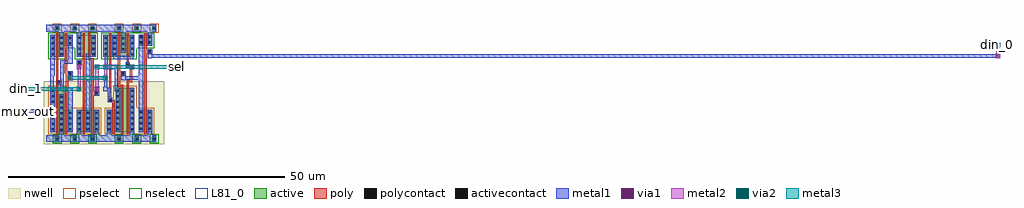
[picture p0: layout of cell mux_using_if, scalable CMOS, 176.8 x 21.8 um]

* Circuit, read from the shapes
.subckt mux_using_if din_0 din_1 gnd mux_out sel vdd
M1 gnd n1 mux_out gnd nfet w=4u l=0.4u
M2 n1 BUFX2_0/A gnd gnd nfet w=2u l=0.4u
M3 n2 din_1 gnd gnd nfet w=4u l=0.4u
M4 OAI21X1_2/C sel n2 gnd nfet w=4u l=0.4u
M5 n3 OAI21X1_2/C BUFX2_0/A gnd nfet w=4u l=0.4u
M6 gnd OAI21X1_2/B n3 gnd nfet w=4u l=0.4u
M7 n3 sel gnd gnd nfet w=4u l=0.4u
M8 gnd din_0 OAI21X1_2/B gnd nfet w=2u l=0.4u
M9 vdd n1 mux_out vdd pfet w=8u l=0.4u
M10 n1 BUFX2_0/A vdd vdd pfet w=4u l=0.4u
M11 OAI21X1_2/C din_1 vdd vdd pfet w=4u l=0.4u
M12 vdd sel OAI21X1_2/C vdd pfet w=4u l=0.4u
M13 BUFX2_0/A OAI21X1_2/C vdd vdd pfet w=4u l=0.4u
M14 n4 OAI21X1_2/B BUFX2_0/A vdd pfet w=8u l=0.4u
M15 vdd sel n4 vdd pfet w=8u l=0.4u
M16 vdd din_0 OAI21X1_2/B vdd pfet w=4u l=0.4u
.ends

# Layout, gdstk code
from math import pi, radians
import gdstk
lib = gdstk.Library(unit=1e-6, precision=1e-09)
def R(c, l, rs):  # rectangles x0, y0, x1, y1
    for r in rs: c.add(gdstk.rectangle(r[:2], r[2:], *l))
def A(c, l, x, y, w, h, nx, ny, dx, dy):  # array of equal rectangles
    R(c, l, [(x+i*dx, y+j*dy, x+i*dx+w, y+j*dy+h) for i in range(nx) for j in range(ny)])
nwell = (42, 0)
active = (43, 0)
pselect = (44, 0)
nselect = (45, 0)
poly = (46, 0)
polycontact = (47, 0)
activecontact = (48, 0)
metal1 = (49, 0)
via1 = (50, 0)
metal2 = (51, 0)
via2 = (61, 0)
metal3 = (62, 0)
L81_0 = (81, 0)

bufx2 = lib.new_cell('BUFX2')
R(bufx2, nwell, [(-1,9.6,5.6,21)])
R(bufx2, active, [(-0.4,-0.4,0.4,0.4), (2.8,-0.4,3.6,0.4), (0.4,1.2,4.4,3.2), (2,3.2,4.4,5.2), (2,10.8,4.4,14.8), (0.4,14.8,4.4,18.8), (-0.4,19.6,0.4,20.4), (2.8,19.6,3.6,20.4)])
R(bufx2, pselect, [(-0.8,-0.8,0.8,0.8), (2.4,-0.8,4,0.8), (1.6,10.4,4.8,14.4), (0,14.4,4.8,19.2)])
R(bufx2, nselect, [(0,0.8,4.8,3.6), (1.6,3.6,4.8,5.6), (-0.8,19.2,0.8,20.8), (2.4,19.2,4,20.8)])
R(bufx2, poly, [(1.4,0.8,1.8,7.8), (3,0.8,3.4,9.4), (0.4,7.8,1.8,8.2), (0.4,8.2,1.6,8.6), (1.2,8.6,1.6,11), (2.4,9.4,3.4,10.2), (3,10.2,3.4,19.2), (1.2,11,1.8,11.4), (1.4,11.4,1.8,19.2)])
R(bufx2, polycontact, [(0.6,8,1,8.4), (2.6,9.6,3,10)])
A(bufx2, activecontact, 0.6, 1.5, 0.4, 0.4, 3, 2, 1.6, 1)
A(bufx2, activecontact, 3.8, 11.1, 0.4, 0.4, 1, 8, 0, 1)
A(bufx2, activecontact, 2.2, 12.2, 0.4, 0.4, 1, 7, 0, 1)
A(bufx2, activecontact, 0.6, 15.1, 0.4, 0.4, 1, 4, 0, 1)
R(bufx2, activecontact, [(-0.2,-0.2,0.2,0.2), (3,-0.2,3.4,0.2), (2.2,3.5,2.6,3.9), (3.8,3.5,4.2,3.9), (2.2,4.5,2.6,4.9), (3.8,4.5,4.2,4.9), (-0.2,19.8,0.2,20.2), (3,19.8,3.4,20.2)])
R(bufx2, metal1, [(-0.4,-0.6,5.2,0.6), (2,0.6,2.8,5.2), (0.4,1.2,1.2,5.8), (3.6,1.2,4.4,8.6), (0.4,5.8,2.6,6.4), (2,6.4,2.6,9.4), (0.4,7.8,1.2,9.4), (3.8,8.6,4.4,10.8), (2,9.4,3.2,10.2), (2,10.2,2.6,10.8), (0.4,10.8,2.6,11.4), (3.6,10.8,4.4,18.8), (0.4,11.4,1.2,18.8), (2,12,2.8,19.4), (-0.4,19.4,5.2,20.6)])
R(bufx2, L81_0, [(3.6,6.6,4.4,7.4), (0.4,8.6,1.2,9.4)])
bufx2.add(gdstk.Label('vdd', (0.8,20), layer=109, texttype=0))
bufx2.add(gdstk.Label('gnd', (0.8,0), layer=109, texttype=0))
bufx2.add(gdstk.Label('A', (0.8,9), layer=109, texttype=0))
bufx2.add(gdstk.Label('Y', (4,7), layer=109, texttype=0))

nand2x1 = lib.new_cell('NAND2X1')
R(nand2x1, nwell, [(-1.6,9.6,6.4,21)])
R(nand2x1, active, [(-0.4,-0.4,0.4,0.4), (2.8,-0.4,3.6,0.4), (0.4,1.2,3.8,5.2), (0.4,14.8,4.4,18.8), (-0.4,19.6,0.4,20.4), (2.8,19.6,3.6,20.4)])
R(nand2x1, pselect, [(-0.8,-0.8,0.8,0.8), (2.4,-0.8,4,0.8), (0,14.4,4.8,19.2)])
R(nand2x1, nselect, [(0,0.8,4.2,5.6), (-0.8,19.2,0.8,20.8), (2.4,19.2,4,20.8)])
R(nand2x1, poly, [(1.4,0.8,1.8,5.8), (2.4,0.8,2.8,5.4), (2.4,5.4,3.4,5.8), (0.4,5.8,1.8,6.6), (3,5.8,3.4,11.4), (1.4,6.6,1.8,19.2), (3,11.4,4.4,12.2), (3,12.2,3.4,19.2)])
R(nand2x1, polycontact, [(0.6,6,1,6.4), (3.8,11.6,4.2,12)])
A(nand2x1, activecontact, 0.6, 1.5, 0.4, 0.4, 1, 4, 0, 1)
A(nand2x1, activecontact, 3.2, 1.5, 0.4, 0.4, 1, 4, 0, 1)
A(nand2x1, activecontact, 0.6, 15.1, 0.4, 0.4, 3, 4, 1.6, 1)
R(nand2x1, activecontact, [(-0.2,-0.2,0.2,0.2), (3,-0.2,3.4,0.2), (-0.2,19.8,0.2,20.2), (3,19.8,3.4,20.2)])
R(nand2x1, metal1, [(-0.4,-0.6,5.2,0.6), (0.4,0.6,1.2,5.2), (3,1.2,3.8,4.6), (2,4.6,3.8,5.2), (2,5.2,2.8,18.8), (0.4,5.8,1.2,7.4), (3.6,10.6,4.4,12.2), (0.4,14.8,1.2,19.4), (3.6,14.8,4.4,19.4), (-0.4,19.4,5.2,20.6)])
R(nand2x1, L81_0, [(0.4,6.6,1.2,7.4), (2,8.6,2.8,9.4), (3.6,10.6,4.4,11.4)])
nand2x1.add(gdstk.Label('vdd', (0.8,20), layer=109, texttype=0))
nand2x1.add(gdstk.Label('Y', (2.4,9), layer=109, texttype=0))
nand2x1.add(gdstk.Label('gnd', (0.8,0), layer=109, texttype=0))
nand2x1.add(gdstk.Label('A', (0.8,7), layer=109, texttype=0))
nand2x1.add(gdstk.Label('B', (4,11), layer=109, texttype=0))

oai21x1 = lib.new_cell('OAI21X1')
R(oai21x1, nwell, [(-1.6,9.6,6.8,21)])
R(oai21x1, active, [(-0.4,-0.4,0.4,0.4), (2.8,-0.4,3.6,0.4), (0.4,1.2,6,5.2), (0.4,10.8,3.8,14.8), (0.4,14.8,5.4,18.8), (-0.4,19.6,0.4,20.4), (2.8,19.6,3.6,20.4)])
R(oai21x1, pselect, [(-0.8,-0.8,0.8,0.8), (2.4,-0.8,4,0.8), (0,10.4,4.2,14.4), (0,14.4,5.8,19.2)])
R(oai21x1, nselect, [(0,0.8,6.4,5.6), (-0.8,19.2,0.8,20.8), (2.4,19.2,4,20.8)])
R(oai21x1, poly, [(1.4,0.8,1.8,6.2), (3,0.8,3.4,7.8), (4.6,0.8,5,12.6), (1.2,6.2,2,6.6), (0.8,6.6,2,7), (0.8,7,1.2,9.4), (2,7.8,3.4,8.6), (3,8.6,3.4,10.2), (0.8,9.4,1.8,9.8), (1.4,9.8,1.8,19.2), (2.4,10.2,3.4,10.6), (2.4,10.6,2.8,19.2), (4.4,12.6,5.2,13), (4,13,5.2,13.4), (4,13.4,4.4,19.2)])
R(oai21x1, polycontact, [(1.4,6.4,1.8,6.8), (2.2,8,2.6,8.4), (4.6,12.8,5,13.2)])
A(oai21x1, activecontact, 0.6, 1.5, 0.4, 0.4, 1, 4, 0, 1)
A(oai21x1, activecontact, 3.8, 1.5, 0.4, 0.4, 1, 4, 0, 1)
A(oai21x1, activecontact, 5.4, 1.5, 0.4, 0.4, 1, 4, 0, 1)
A(oai21x1, activecontact, 2.2, 1.6, 0.4, 0.4, 1, 3, 0, 1)
A(oai21x1, activecontact, 0.6, 11.1, 0.4, 0.4, 1, 8, 0, 1)
A(oai21x1, activecontact, 3.2, 11.1, 0.4, 0.4, 1, 8, 0, 1)
A(oai21x1, activecontact, 4.8, 15.1, 0.4, 0.4, 1, 4, 0, 1)
R(oai21x1, activecontact, [(-0.2,-0.2,0.2,0.2), (3,-0.2,3.4,0.2), (-0.2,19.8,0.2,20.2), (3,19.8,3.4,20.2)])
R(oai21x1, metal1, [(-0.4,-0.6,6.8,0.6), (2,0.6,2.8,4.4), (0.4,1.2,1.2,5), (3.6,1.2,4.4,5), (5.2,1.2,6,5.2), (0.4,5,4.4,5.2), (0.6,5.2,4.2,5.6), (5.2,5.2,5.8,6.6), (1.2,6.2,2,6.6), (0.4,6.6,2,7.2), (3.4,6.6,6,7.4), (0.4,7.2,1.2,7.4), (3.4,7.4,4,10.8), (2,7.8,2.8,9.4), (5.2,10.6,6,10.8), (0.4,10.8,1.2,19.4), (3,10.8,4,11.4), (4.6,10.8,6,11.4), (3,11.4,3.8,18.8), (4.6,11.4,5.2,12.6), (4.4,12.6,5.2,13.4), (4.6,14.8,5.4,19.4), (-0.4,19.4,6.8,20.6)])
R(oai21x1, L81_0, [(0.4,6.6,1.2,7.4), (5.2,6.6,6,7.4), (2,8.6,2.8,9.4), (5.2,10.6,6,11.4)])
oai21x1.add(gdstk.Label('gnd', (0.8,0), layer=109, texttype=0))
oai21x1.add(gdstk.Label('vdd', (0.8,20), layer=109, texttype=0))
oai21x1.add(gdstk.Label('A', (0.8,7), layer=109, texttype=0))
oai21x1.add(gdstk.Label('B', (2.4,9), layer=109, texttype=0))
oai21x1.add(gdstk.Label('Y', (5.6,7), layer=109, texttype=0))
oai21x1.add(gdstk.Label('C', (5.6,11), layer=109, texttype=0))

invx1 = lib.new_cell('INVX1')
R(invx1, nwell, [(-1.8,9.6,5.2,21)])
R(invx1, active, [(-0.4,-0.4,0.4,0.4), (0.4,1.2,2.8,3.2), (0.4,14.8,2.8,18.8), (-0.4,19.6,0.4,20.4)])
R(invx1, pselect, [(-0.8,-0.8,0.8,0.8), (0,14.4,3.2,19.2)])
R(invx1, nselect, [(0,0.8,3.2,3.6), (-0.8,19.2,0.8,20.8)])
R(invx1, poly, [(1.4,0.8,1.8,3.8), (0.4,3.8,1.8,4.6), (1.4,4.6,1.8,19.2)])
R(invx1, polycontact, [(0.6,4,1,4.4)])
A(invx1, activecontact, 0.6, 15, 0.4, 0.4, 1, 4, 0, 1)
A(invx1, activecontact, 2.2, 15, 0.4, 0.4, 1, 4, 0, 1)
R(invx1, activecontact, [(-0.2,-0.2,0.2,0.2), (0.6,1.4,1,1.8), (2.2,1.4,2.6,1.8), (0.6,2.4,1,2.8), (2.2,2.4,2.6,2.8), (-0.2,19.8,0.2,20.2)])
R(invx1, metal1, [(-0.4,-0.6,3.6,0.6), (0.4,0.6,1.2,3.2), (2,1.2,2.8,18.8), (0.4,3.8,1.2,5.4), (0.4,14.8,1.2,19.4), (-0.4,19.4,3.6,20.6)])
R(invx1, L81_0, [(0.4,4.6,1.2,5.4), (2,6.6,2.8,7.4)])
invx1.add(gdstk.Label('A', (0.8,5), layer=109, texttype=0))
invx1.add(gdstk.Label('Y', (2.4,7), layer=109, texttype=0))
invx1.add(gdstk.Label('vdd', (0.8,20), layer=109, texttype=0))
invx1.add(gdstk.Label('gnd', (0.8,0), layer=109, texttype=0))

mux_using_if = lib.new_cell('mux_using_if')
A(mux_using_if, metal1, 6, 13.6, 0.8, 0.8, 3, 1, 4.8, 0)
R(mux_using_if, metal1, [(-3.6,5.6,-2.8,5.7), (-3.6,5.7,1.9,6.3), (-3.6,6.3,-2.8,6.4), (9.2,9.6,10,10.4), (10.9,9.7,11.5,11.7), (4.4,11.6,5.2,12.4), (7.7,11.7,11.5,12.3), (14.1,11.7,17.9,12.3), (172.4,15.6,173.2,15.7), (18.9,15.7,173.2,16.3), (172.4,16.3,173.2,16.4)])
A(mux_using_if, via1, 6.2, 13.8, 0.4, 0.4, 3, 1, 4.8, 0)
R(mux_using_if, via1, [(-3.4,5.8,-3,6.2), (9.4,9.8,9.8,10.2), (4.6,11.8,5,12.2), (172.6,15.8,173,16.2)])
R(mux_using_if, metal2, [(-3.6,5.6,-2.8,6.4), (6,9.6,6.8,10.4), (9.2,9.6,10,10.4), (6.1,10.4,6.7,13.6), (9.3,10.4,9.9,13.6), (4.4,11.6,5.2,12.4), (10.8,11.6,11.6,12.4), (10.9,12.4,11.5,13.6), (6,13.6,6.8,14.4), (9.2,13.6,10,14.4), (10.8,13.6,11.6,14.4), (15.6,13.6,16.4,14.4), (172.4,15.6,173.2,16.4), (172.5,16.4,173.1,17.6), (172.4,17.6,173.2,18.4)])
R(mux_using_if, via2, [(-3.4,5.8,-3,6.2), (6.2,9.8,6.6,10.2), (4.6,11.8,5,12.2), (11,11.8,11.4,12.2), (9.4,13.8,9.8,14.2), (15.8,13.8,16.2,14.2), (172.6,17.8,173,18.2)])
R(mux_using_if, metal3, [(-3.6,5.6,-2.8,6.4), (6,9.6,6.8,9.7), (-3.5,9.7,6.8,10.3), (6,10.3,6.8,10.4), (4.4,11.6,5.2,11.7), (10.8,11.6,11.6,11.7), (4.4,11.7,11.6,12.3), (4.4,12.3,5.2,12.4), (10.8,12.3,11.6,12.4), (9.2,13.6,10,13.7), (15.6,13.6,16.4,13.7), (9.2,13.7,24.3,14.3), (9.2,14.3,10,14.4), (15.6,14.3,16.4,14.4), (172.4,17.6,173.2,18.4)])
mux_using_if.add(gdstk.Reference(bufx2, (5.6,21), rotation=pi))
mux_using_if.add(gdstk.Reference(nand2x1, (5.6,21), x_reflection=True))
mux_using_if.add(gdstk.Reference(oai21x1, (16.8,21), rotation=pi))
mux_using_if.add(gdstk.Reference(invx1, (20,21), rotation=pi))
mux_using_if.add(gdstk.Label('din_0', (172.8,18), layer=62, texttype=0))
mux_using_if.add(gdstk.Label('din_1', (-3.2,10), layer=62, texttype=0))
mux_using_if.add(gdstk.Label('mux_out', (-3.2,6), layer=62, texttype=0))
mux_using_if.add(gdstk.Label('sel', (24,14), layer=62, texttype=0))

lib.write_gds('mux_using_if.gds')
